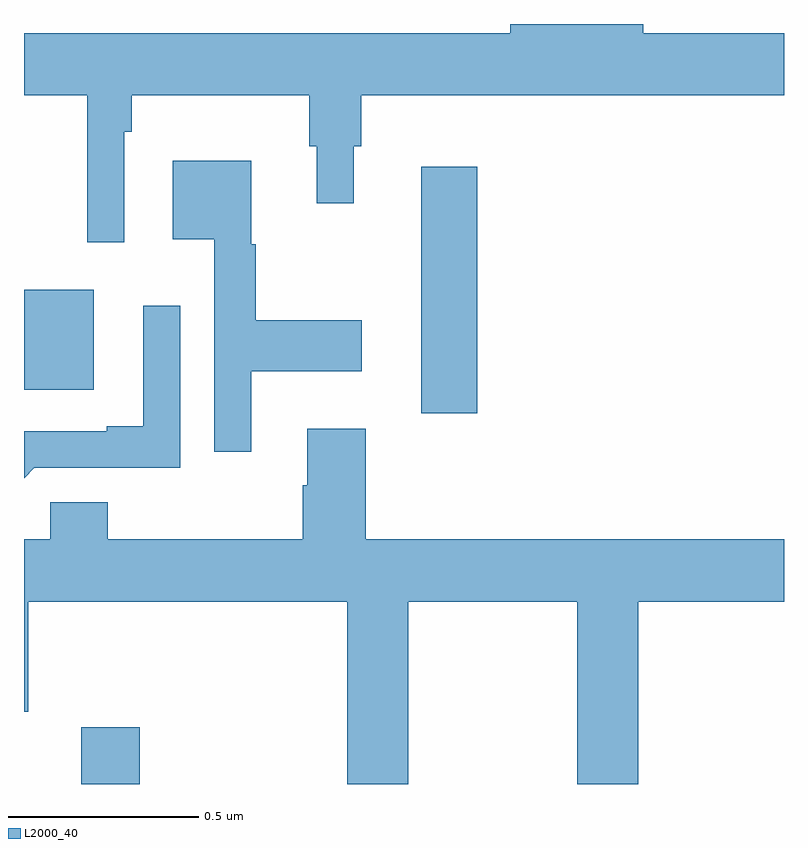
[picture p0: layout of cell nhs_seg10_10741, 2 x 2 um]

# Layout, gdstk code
import gdstk
lib = gdstk.Library(unit=1e-6, precision=1e-09)
def R(c, l, rs):  # rectangles x0, y0, x1, y1
    for r in rs: c.add(gdstk.rectangle(r[:2], r[2:], *l))
def P(c, l, *ps):  # polygons
    for p in ps: c.add(gdstk.Polygon(p, *l))
L2000_40 = (2000, 40)

nhs_seg10_10741 = lib.new_cell('nhs_seg10_10741')
R(nhs_seg10_10741, L2000_40, [(246.151,1302.5,246.305,1302.649), (247.046,1303.476,247.193,1304.125), (246,1303.538,246.184,1303.801)])
P(nhs_seg10_10741, L2000_40, [(246.264,1304.216),(246.284,1304.216),(246.284,1304.312),(246.751,1304.312),(246.751,1304.178),(246.77,1304.178),(246.77,1304.028),(246.868,1304.028),(246.868,1304.178),(246.887,1304.178),(246.887,1304.312),(248,1304.312),(248,1304.476),(247.63,1304.476),(247.63,1304.5),(247.28,1304.5),(247.28,1304.476),(246,1304.476),(246,1304.312),(246.167,1304.312),(246.167,1303.926),(246.264,1303.926)],
  [(246.598,1303.586),(246.889,1303.586),(246.889,1303.721),(246.61,1303.721),(246.61,1303.92),(246.598,1303.92),(246.598,1304.14),(246.392,1304.14),(246.392,1303.934),(246.501,1303.934),(246.501,1303.374),(246.598,1303.374)],
  [(246.027,1303.332),(246.411,1303.332),(246.411,1303.759),(246.314,1303.759),(246.314,1303.441),(246.218,1303.441),(246.218,1303.428),(246,1303.428),(246,1303.305)],
  [(247.011,1302.98),(247.456,1302.98),(247.456,1302.5),(247.616,1302.5),(247.616,1302.98),(248,1302.98),(248,1303.144),(246.899,1303.144),(246.899,1303.435),(246.746,1303.435),(246.746,1303.286),(246.734,1303.286),(246.734,1303.144),(246.221,1303.144),(246.221,1303.242),(246.069,1303.242),(246.069,1303.144),(246,1303.144),(246,1302.69),(246.011,1302.69),(246.011,1302.98),(246.851,1302.98),(246.851,1302.5),(247.011,1302.5)])

lib.write_gds('nhs_seg10_10741.gds')
